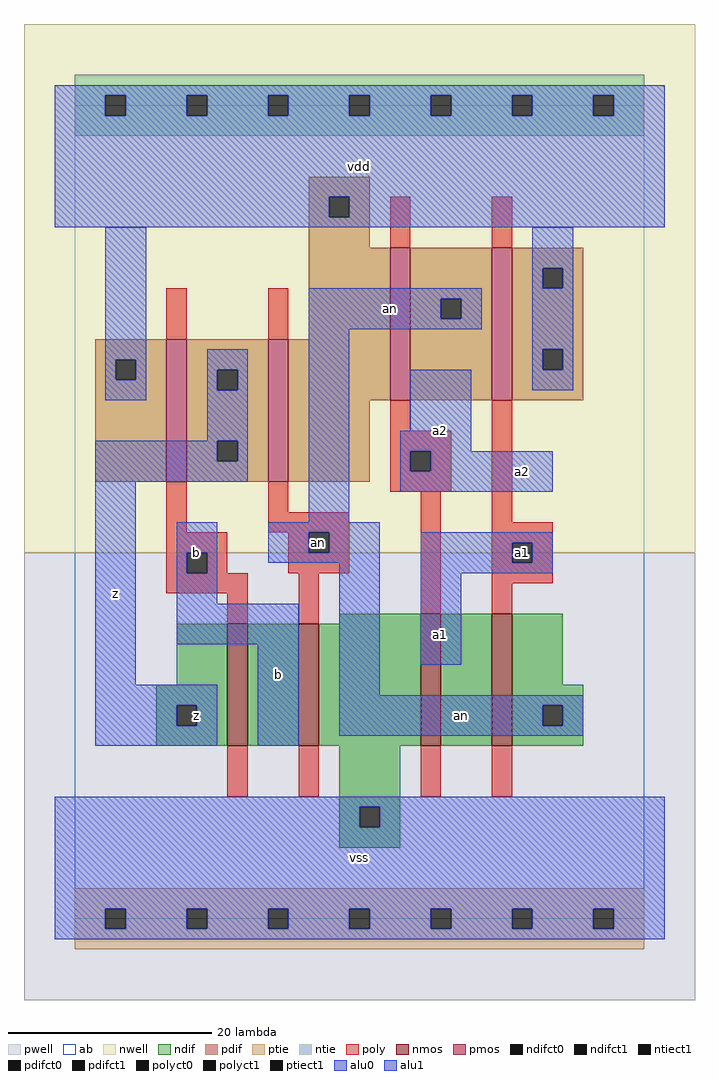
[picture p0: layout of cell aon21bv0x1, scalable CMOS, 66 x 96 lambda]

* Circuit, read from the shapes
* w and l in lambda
.subckt aon21bv0x1 a1 a2 an b vdd vss z
M1 n1 b z vss nfet w=12 l=2
M2 vss an n1 vss nfet w=12 l=2
M3 n2 a2 vss vss nfet w=13 l=2
M4 an a1 n2 vss nfet w=13 l=2
M5 z b vdd vdd pfet w=14 l=2
M6 vdd an z vdd pfet w=14 l=2
M7 an a2 vdd vdd pfet w=15 l=2
M8 vdd a1 an vdd pfet w=15 l=2
.ends

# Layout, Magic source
magic
tech scmos
<< ab >>
rect 0 0 56 80
<< nwell >>
rect -5 36 61 88
<< pwell >>
rect -5 -8 61 36
<< poly >>
rect 31 66 33 71
rect 41 66 43 71
rect 9 57 11 62
rect 19 57 21 62
rect 31 48 33 51
rect 31 46 37 48
rect 31 44 33 46
rect 35 44 37 46
rect 9 38 11 43
rect 19 40 21 43
rect 31 42 37 44
rect 19 38 27 40
rect 9 36 15 38
rect 9 34 11 36
rect 13 34 15 36
rect 21 36 23 38
rect 25 36 27 38
rect 21 34 27 36
rect 9 32 17 34
rect 15 29 17 32
rect 22 29 24 34
rect 34 30 36 42
rect 41 39 43 51
rect 41 37 47 39
rect 41 35 43 37
rect 45 35 47 37
rect 41 33 47 35
rect 41 30 43 33
rect 15 12 17 17
rect 22 12 24 17
rect 34 12 36 17
rect 41 12 43 17
<< ndif >>
rect 26 29 34 30
rect 10 23 15 29
rect 8 21 15 23
rect 8 19 10 21
rect 12 19 15 21
rect 8 17 15 19
rect 17 17 22 29
rect 24 17 34 29
rect 36 17 41 30
rect 43 23 48 30
rect 43 21 50 23
rect 43 19 46 21
rect 48 19 50 21
rect 43 17 50 19
rect 26 11 32 17
rect 26 9 28 11
rect 30 9 32 11
rect 26 7 32 9
<< pdif >>
rect 23 71 29 73
rect 23 69 25 71
rect 27 69 29 71
rect 23 66 29 69
rect 23 57 31 66
rect 2 55 9 57
rect 2 53 4 55
rect 6 53 9 55
rect 2 43 9 53
rect 11 54 19 57
rect 11 52 14 54
rect 16 52 19 54
rect 11 47 19 52
rect 11 45 14 47
rect 16 45 19 47
rect 11 43 19 45
rect 21 51 31 57
rect 33 61 41 66
rect 33 59 36 61
rect 38 59 41 61
rect 33 51 41 59
rect 43 64 50 66
rect 43 62 46 64
rect 48 62 50 64
rect 43 56 50 62
rect 43 54 46 56
rect 48 54 50 56
rect 43 51 50 54
rect 21 43 29 51
<< alu1 >>
rect -2 81 58 82
rect -2 79 3 81
rect 5 79 11 81
rect 13 79 19 81
rect 21 79 27 81
rect 29 79 35 81
rect 37 79 43 81
rect 45 79 51 81
rect 53 79 58 81
rect -2 71 58 79
rect -2 69 25 71
rect 27 69 58 71
rect -2 68 58 69
rect 13 54 17 56
rect 13 52 14 54
rect 16 52 17 54
rect 13 47 17 52
rect 2 45 14 47
rect 16 45 17 47
rect 2 43 17 45
rect 2 23 6 43
rect 33 48 39 54
rect 32 46 39 48
rect 32 44 33 46
rect 35 44 47 46
rect 32 42 47 44
rect 10 36 14 39
rect 10 34 11 36
rect 13 34 14 36
rect 10 31 14 34
rect 10 27 22 31
rect 2 21 14 23
rect 2 19 10 21
rect 12 19 14 21
rect 2 17 14 19
rect 18 17 22 27
rect 34 37 47 38
rect 34 35 43 37
rect 45 35 47 37
rect 34 34 47 35
rect 34 25 38 34
rect -2 11 58 12
rect -2 9 28 11
rect 30 9 58 11
rect -2 1 58 9
rect -2 -1 3 1
rect 5 -1 11 1
rect 13 -1 19 1
rect 21 -1 27 1
rect 29 -1 35 1
rect 37 -1 43 1
rect 45 -1 51 1
rect 53 -1 58 1
rect -2 -2 58 -1
<< ptie >>
rect 0 1 56 3
rect 0 -1 3 1
rect 5 -1 11 1
rect 13 -1 19 1
rect 21 -1 27 1
rect 29 -1 35 1
rect 37 -1 43 1
rect 45 -1 51 1
rect 53 -1 56 1
rect 0 -3 56 -1
<< ntie >>
rect 0 81 56 83
rect 0 79 3 81
rect 5 79 11 81
rect 13 79 19 81
rect 21 79 27 81
rect 29 79 35 81
rect 37 79 43 81
rect 45 79 51 81
rect 53 79 56 81
rect 0 77 56 79
<< nmos >>
rect 15 17 17 29
rect 22 17 24 29
rect 34 17 36 30
rect 41 17 43 30
<< pmos >>
rect 9 43 11 57
rect 19 43 21 57
rect 31 51 33 66
rect 41 51 43 66
<< polyct0 >>
rect 23 36 25 38
<< polyct1 >>
rect 33 44 35 46
rect 11 34 13 36
rect 43 35 45 37
<< ndifct0 >>
rect 46 19 48 21
<< ndifct1 >>
rect 10 19 12 21
rect 28 9 30 11
<< ntiect1 >>
rect 3 79 5 81
rect 11 79 13 81
rect 19 79 21 81
rect 27 79 29 81
rect 35 79 37 81
rect 43 79 45 81
rect 51 79 53 81
<< ptiect1 >>
rect 3 -1 5 1
rect 11 -1 13 1
rect 19 -1 21 1
rect 27 -1 29 1
rect 35 -1 37 1
rect 43 -1 45 1
rect 51 -1 53 1
<< pdifct0 >>
rect 4 53 6 55
rect 36 59 38 61
rect 46 62 48 64
rect 46 54 48 56
<< pdifct1 >>
rect 25 69 27 71
rect 14 52 16 54
rect 14 45 16 47
<< alu0 >>
rect 3 55 7 68
rect 45 64 49 68
rect 45 62 46 64
rect 48 62 49 64
rect 23 61 40 62
rect 23 59 36 61
rect 38 59 40 61
rect 23 58 40 59
rect 3 53 4 55
rect 6 53 7 55
rect 3 51 7 53
rect 23 39 27 58
rect 45 56 49 62
rect 45 54 46 56
rect 48 54 49 56
rect 45 52 49 54
rect 19 38 30 39
rect 19 36 23 38
rect 25 36 30 38
rect 19 35 30 36
rect 26 22 30 35
rect 26 21 50 22
rect 26 19 46 21
rect 48 19 50 21
rect 26 18 50 19
<< labels >>
rlabel polyct0 24 37 24 37 6 an
rlabel alu0 31 60 31 60 6 an
rlabel alu0 38 20 38 20 6 an
rlabel alu1 4 32 4 32 6 z
rlabel alu1 12 20 12 20 6 z
rlabel alu1 12 36 12 36 6 b
rlabel alu1 20 24 20 24 6 b
rlabel alu1 28 6 28 6 6 vss
rlabel alu1 36 28 36 28 6 a1
rlabel alu1 36 48 36 48 6 a2
rlabel alu1 28 74 28 74 6 vdd
rlabel polyct1 44 36 44 36 6 a1
rlabel alu1 44 44 44 44 6 a2
<< end >>
